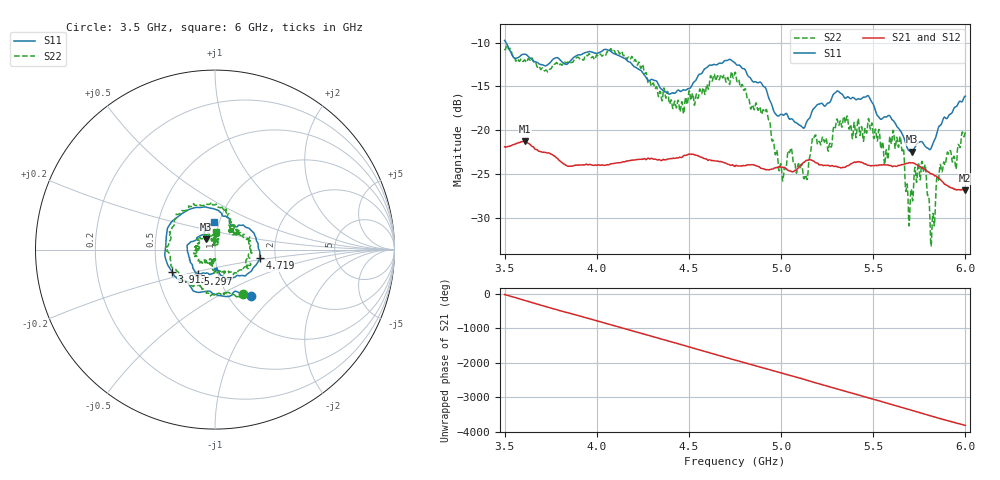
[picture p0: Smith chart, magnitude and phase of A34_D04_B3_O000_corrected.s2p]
! Created with skrf 1.9.0 (http://scikit-rf.org).
# Hz S RI R 50.0
!freq ReS11 ImS11 ReS21 ImS21 ReS12 ImS12 ReS22 ImS22
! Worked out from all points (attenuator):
!   1601 points, 3.5 GHz to 6 GHz, reference 50 ohm
!   highest |S21| = -21.29 dB at 3.609 GHz (marker M1); lowest = -26.9 dB at 5.997 GHz (marker M2)
!   lowest |S11| = -22.5 dB at 5.709 GHz (marker M3), VSWR 1.16, Z = 45.1 + j5.25 ohm
!   |S11| at or under -10 dB: 3.508 GHz to end of sweep
!   |S22| runs from -33.3 to -10.3 dB; largest |S21 - S12| = 0.00099
!   S11 on the Smith chart (normalised r, x): 3.5 GHz: 1.26, -0.73; 3.913 GHz: 0.60, -0.16; 4.719 GHz: 1.65, -0.17; 5.297 GHz: 0.80, -0.22; 6 GHz: 0.94, +0.30
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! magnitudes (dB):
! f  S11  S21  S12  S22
! 3.5 GHz  -9.7  -21.9  -21.9  -10.7
! 3.609 GHz  -11.3  -21.3  -21.3  -12.0
! 3.913 GHz  -11.4  -24.0  -23.9  -11.9
! 3.917 GHz  -11.4  -24.0  -24.0  -11.8
! 4.127 GHz  -11.5  -23.7  -23.7  -11.2
! 4.334 GHz  -14.8  -23.4  -23.3  -16.2
! 4.719 GHz  -11.9  -23.9  -24.0  -14.7
! 4.75 GHz  -12.3  -24.1  -24.0  -13.4
! 4.927 GHz  -15.9  -24.5  -24.5  -18.2
! 5.002 GHz  -18.2  -24.2  -24.2  -24.3
! 5.133 GHz  -19.4  -23.5  -23.5  -25.1
! 5.167 GHz  -17.9  -23.5  -23.4  -21.4
! 5.297 GHz  -15.7  -24.1  -24.0  -19.4
! 5.584 GHz  -18.3  -24.0  -24.0  -22.0
! 5.653 GHz  -20.3  -24.0  -23.9  -21.9
! 5.686 GHz  -22.1  -23.8  -23.8  -26.7
! 5.709 GHz  -22.5  -23.7  -23.7  -27.2
! 5.773 GHz  -21.6  -24.4  -24.4  -24.8
! 5.822 GHz  -21.6  -25.0  -25.0  -29.8
! 5.856 GHz  -19.6  -25.5  -25.4  -25.3
! 5.997 GHz  -16.1  -26.9  -26.8  -20.5
! 6 GHz  -16.1  -26.9  -26.8  -20.1
